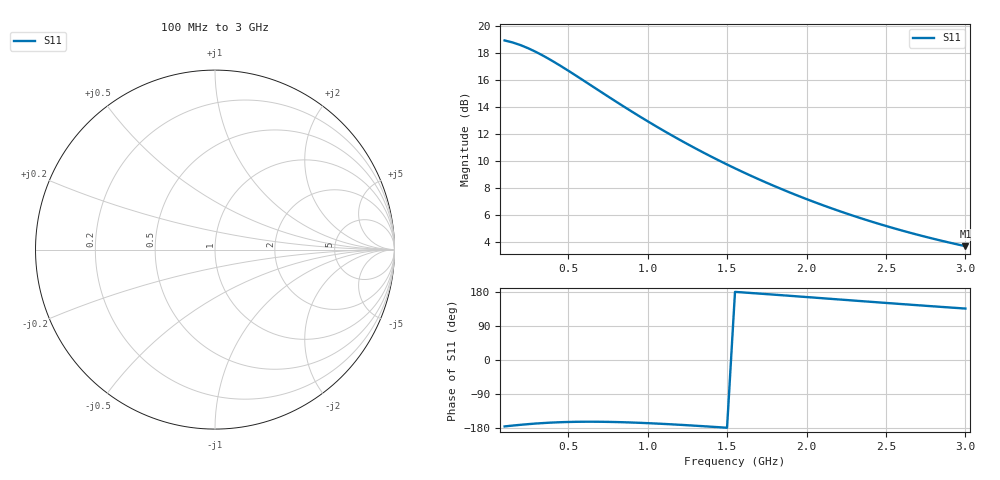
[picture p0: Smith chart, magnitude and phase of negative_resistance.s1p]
! Ideal negative-resistance model: -40 ohm || 2 pF, then 2 nH in series
! Generated by scripts/generate_examples.py, demo data, not a measurement
# GHz S RI R 50
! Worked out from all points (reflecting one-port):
!   59 points, 100 MHz to 3 GHz, reference 50 ohm
!   lowest |S11| = 3.7 dB at 3 GHz (marker M1)
!   phase of S11 starts at -175 deg and turns -49 deg over the sweep
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0.1  -8.846 -0.73
0.15  -8.664 -1.053
0.2  -8.427 -1.33
0.25  -8.15 -1.556
0.3  -7.846 -1.728
0.35  -7.527 -1.848
0.4  -7.206 -1.92
0.45  -6.889 -1.95
0.5  -6.582 -1.943
0.55  -6.288 -1.908
0.6  -6.011 -1.85
0.65  -5.75 -1.773
0.75  -5.277 -1.584
0.85  -4.864 -1.367
0.9  -4.677 -1.254
1  -4.336 -1.029
1.1  -4.034 -0.8098
1.2  -3.762 -0.6015
1.35  -3.4 -0.3154
1.45  -3.183 -0.1434
1.55  -2.983 0.0135
1.75  -2.621 0.2842
1.95  -2.302 0.5029
2.1  -2.086 0.6373
2.3  -1.824 0.7826
2.45  -1.646 0.87
2.65  -1.429 0.9623
3  -1.1 1.071
